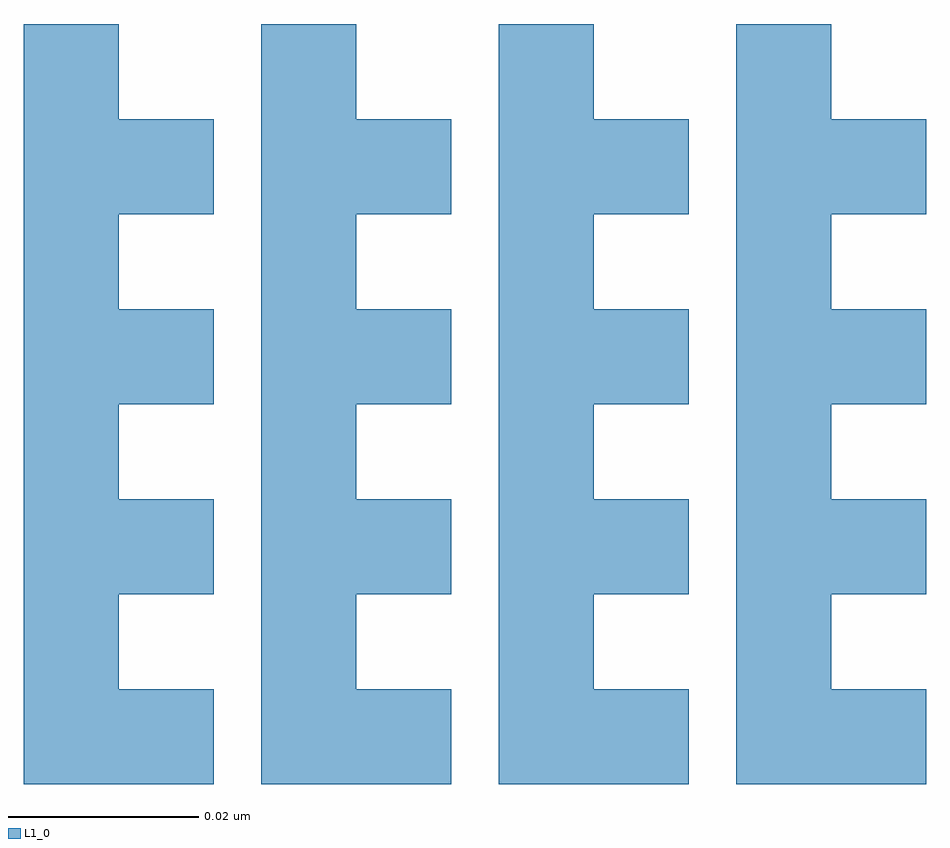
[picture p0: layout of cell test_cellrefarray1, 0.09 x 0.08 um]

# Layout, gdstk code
import gdstk
lib = gdstk.Library(unit=1e-6, precision=1e-09)
def P(c, l, *ps):  # polygons
    for p in ps: c.add(gdstk.Polygon(p, *l))
L1_0 = (1, 0)

test_cellrefarray1 = lib.new_cell('test_cellrefarray1')
P(test_cellrefarray1, L1_0, [(0,0),(0,0.02),(0.01,0.02),(0.01,0.01),(0.02,0.01),(0.02,0)],
  [(0.025,0),(0.025,0.02),(0.035,0.02),(0.035,0.01),(0.045,0.01),(0.045,0)],
  [(0.05,0),(0.05,0.02),(0.06,0.02),(0.06,0.01),(0.07,0.01),(0.07,0)],
  [(0.075,0),(0.075,0.02),(0.085,0.02),(0.085,0.01),(0.095,0.01),(0.095,0)],
  [(0,0.02),(0,0.04),(0.01,0.04),(0.01,0.03),(0.02,0.03),(0.02,0.02)],
  [(0.025,0.02),(0.025,0.04),(0.035,0.04),(0.035,0.03),(0.045,0.03),(0.045,0.02)],
  [(0.05,0.02),(0.05,0.04),(0.06,0.04),(0.06,0.03),(0.07,0.03),(0.07,0.02)],
  [(0.075,0.02),(0.075,0.04),(0.085,0.04),(0.085,0.03),(0.095,0.03),(0.095,0.02)],
  [(0,0.04),(0,0.06),(0.01,0.06),(0.01,0.05),(0.02,0.05),(0.02,0.04)],
  [(0.025,0.04),(0.025,0.06),(0.035,0.06),(0.035,0.05),(0.045,0.05),(0.045,0.04)],
  [(0.05,0.04),(0.05,0.06),(0.06,0.06),(0.06,0.05),(0.07,0.05),(0.07,0.04)],
  [(0.075,0.04),(0.075,0.06),(0.085,0.06),(0.085,0.05),(0.095,0.05),(0.095,0.04)],
  [(0,0.06),(0,0.08),(0.01,0.08),(0.01,0.07),(0.02,0.07),(0.02,0.06)],
  [(0.025,0.06),(0.025,0.08),(0.035,0.08),(0.035,0.07),(0.045,0.07),(0.045,0.06)],
  [(0.05,0.06),(0.05,0.08),(0.06,0.08),(0.06,0.07),(0.07,0.07),(0.07,0.06)],
  [(0.075,0.06),(0.075,0.08),(0.085,0.08),(0.085,0.07),(0.095,0.07),(0.095,0.06)],
  [(0,0),(0,0.02),(0.01,0.02),(0.01,0.01),(0.02,0.01),(0.02,0)])

lib.write_gds('test_cellrefarray1.gds')
